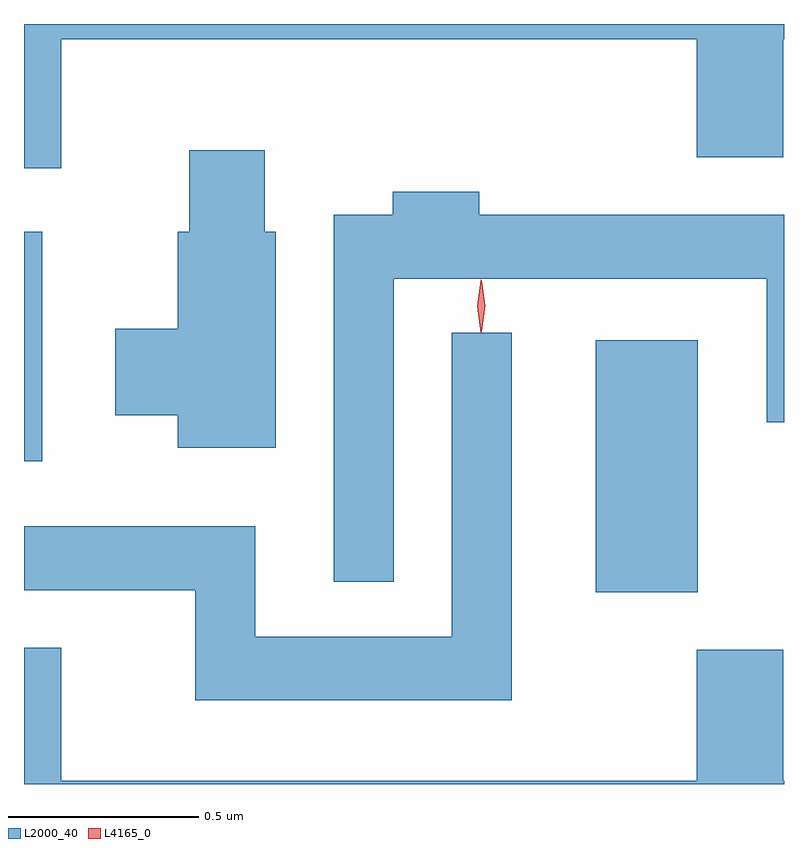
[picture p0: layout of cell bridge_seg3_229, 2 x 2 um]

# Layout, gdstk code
import gdstk
lib = gdstk.Library(unit=1e-6, precision=1e-09)
def R(c, l, rs):  # rectangles x0, y0, x1, y1
    for r in rs: c.add(gdstk.rectangle(r[:2], r[2:], *l))
def P(c, l, *ps):  # polygons
    for p in ps: c.add(gdstk.Polygon(p, *l))
L2000_40 = (2000, 40)
L4165_0 = (4165, 0)

bridge_seg3_229 = lib.new_cell('bridge_seg3_229')
R(bridge_seg3_229, L2000_40, [(937.126,1168.961,937.394,1169.624), (935.621,1169.306,935.669,1169.909)])
P(bridge_seg3_229, L2000_40, [(935.719,1170.416),(937.391,1170.416),(937.391,1170.106),(937.619,1170.106),(937.619,1170.416),(937.621,1170.416),(937.621,1170.456),(935.621,1170.456),(935.621,1170.076),(935.719,1170.076)],
  [(936.284,1169.909),(936.254,1169.909),(936.254,1170.124),(936.056,1170.124),(936.056,1169.909),(936.026,1169.909),(936.026,1169.654),(935.861,1169.654),(935.861,1169.426),(936.026,1169.426),(936.026,1169.341),(936.284,1169.341)],
  [(936.594,1169.786),(937.576,1169.786),(937.576,1169.408),(937.621,1169.408),(937.621,1169.954),(936.819,1169.954),(936.819,1170.014),(936.591,1170.014),(936.591,1169.954),(936.436,1169.954),(936.436,1168.988),(936.594,1168.988)],
  [(936.904,1169.643),(936.746,1169.643),(936.746,1168.844),(936.229,1168.844),(936.229,1169.134),(935.621,1169.134),(935.621,1168.966),(936.071,1168.966),(936.071,1168.676),(936.904,1168.676)],
  [(937.621,1168.464),(937.619,1168.464),(937.619,1168.809),(937.391,1168.809),(937.391,1168.464),(935.719,1168.464),(935.719,1168.814),(935.621,1168.814),(935.621,1168.456),(937.621,1168.456)])
P(bridge_seg3_229, L4165_0, [(936.825,1169.647),(936.824,1169.648),(936.815,1169.714),(936.824,1169.78),(936.825,1169.781),(936.825,1169.78),(936.835,1169.714),(936.825,1169.648)],
  [(936.823,1169.644),(936.814,1169.713),(936.823,1169.782),(936.823,1169.783),(936.824,1169.782),(936.834,1169.713),(936.824,1169.644),(936.824,1169.644)])

lib.write_gds('bridge_seg3_229.gds')
